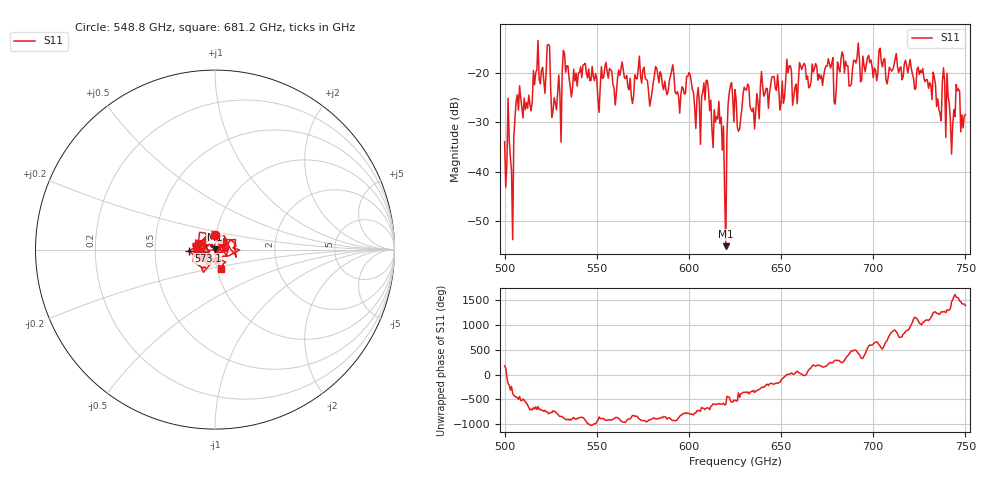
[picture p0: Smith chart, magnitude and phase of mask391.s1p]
!Created with skrf (http://scikit-rf.org).
# GHz S MA R 50.0
!freq magS11 angS11
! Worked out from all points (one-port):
!   401 points, 500 GHz to 750 GHz, reference 50 ohm
!   lowest |S11| = -55.1 dB at 620 GHz (marker M1), VSWR 1.00, Z = 49.9 + j0.157 ohm
!   |S11| at or under -10 dB: start of sweep to end of sweep
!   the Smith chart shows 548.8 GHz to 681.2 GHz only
!   S11 on the Smith chart (normalised r, x): 548.8 GHz: 0.99, +0.17; 573.1 GHz: 0.74, -0.01; 681.2 GHz: 1.04, -0.22
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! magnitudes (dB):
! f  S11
! 500 GHz  -33.9
! 503.8 GHz  -39.7
! 506.9 GHz  -24.4
! 513.8 GHz  -26.4
! 516.9 GHz  -20.0
! 523.8 GHz  -14.2
! 526.9 GHz  -25.0
! 531.2 GHz  -19.7
! 533.1 GHz  -19.9
! 548.8 GHz  -21.6
! 562.5 GHz  -20.5
! 568.8 GHz  -24.8
! 573.1 GHz  -16.6
! 579.4 GHz  -25.4
! 590.6 GHz  -19.4
! 593.8 GHz  -23.8
! 600 GHz  -20.0
! 605 GHz  -23.0
! 609.4 GHz  -21.5
! 620 GHz  -55.1
! 622.5 GHz  -22.6
! 625 GHz  -23.4
! 656.2 GHz  -26.5
! 681.2 GHz  -19.1
! 687.5 GHz  -22.6
! 690.6 GHz  -18.0
! 718.8 GHz  -20.0
! 750 GHz  -28.4
